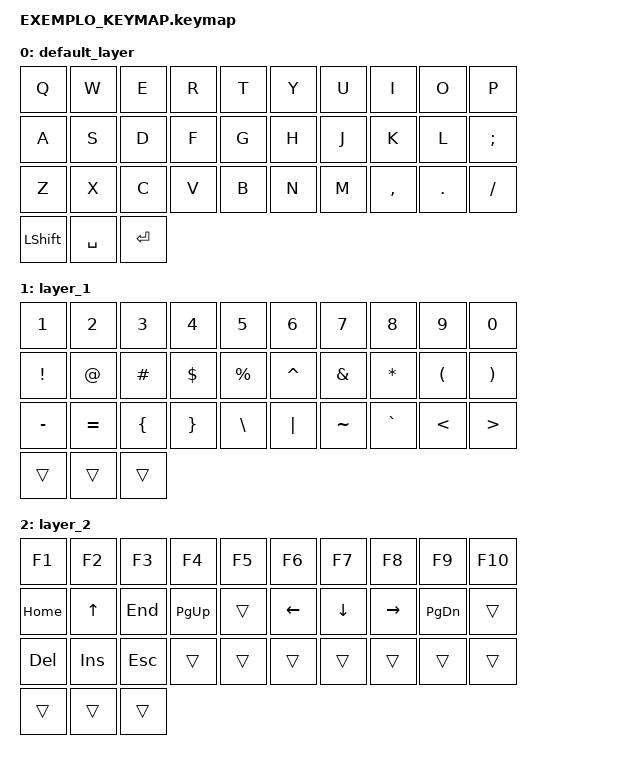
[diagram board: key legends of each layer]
/*
 * Exemplo de Keymap para nice!nano com ZMK
 * 
 * Este é um exemplo básico de um teclado 60% (ANSI)
 * Adapte conforme o layout do seu teclado
 */

#include <behaviors.dtsi>
#include <dt-bindings/zmk/keys.h>
#include <dt-bindings/zmk/bt.h>

/ {
    keymap {
        compatible = "zmk,keymap";

        /*
         * Layer 0: Base Layer (QWERTY)
         */
        default_layer {
            bindings = <
                // Linha 1
                &kp Q    &kp W    &kp E    &kp R    &kp T    &kp Y    &kp U    &kp I    &kp O    &kp P
                // Linha 2
                &kp A    &kp S    &kp D    &kp F    &kp G    &kp H    &kp J    &kp K    &kp L    &kp SEMICOLON
                // Linha 3
                &kp Z    &kp X    &kp C    &kp V    &kp B    &kp N    &kp M    &kp COMMA &kp DOT  &kp SLASH
                // Linha 4 (Space bar e modificadores)
                &kp LSHIFT &kp SPACE &kp ENTER
            >;
        };

        /*
         * Layer 1: Números e Símbolos
         * Ativado com a tecla MO(1)
         */
        layer_1 {
            bindings = <
                // Linha 1 - Números
                &kp N1   &kp N2   &kp N3   &kp N4   &kp N5   &kp N6   &kp N7   &kp N8   &kp N9   &kp N0
                // Linha 2 - Símbolos
                &kp EXCL &kp AT   &kp HASH &kp DLLR &kp PRCNT &kp CARET &kp AMPS &kp STAR &kp LPAR &kp RPAR
                // Linha 3
                &kp MINUS &kp EQUAL &kp LBRC &kp RBRC &kp BSLH &kp PIPE &kp TILDE &kp GRAVE &kp LT &kp GT
                // Linha 4
                &trans   &trans   &trans
            >;
        };

        /*
         * Layer 2: Funções e Navegação
         */
        layer_2 {
            bindings = <
                // Linha 1 - F1-F10
                &kp F1   &kp F2   &kp F3   &kp F4   &kp F5   &kp F6   &kp F7   &kp F8   &kp F9   &kp F10
                // Linha 2 - Navegação
                &kp HOME &kp UP   &kp END  &kp PG_UP &trans   &kp LEFT &kp DOWN &kp RIGHT &kp PG_DN &trans
                // Linha 3
                &kp DEL  &kp INS  &kp ESC  &trans   &trans   &trans  &trans  &trans  &trans  &trans
                // Linha 4
                &trans   &trans   &trans
            >;
        };
    };

    /*
     * Configuração de Layers
     * MO(n) = Momentary Layer (ativa enquanto pressionado)
     * TO(n) = Toggle Layer (liga/desliga)
     * TG(n) = Toggle Layer (alterna)
     */
    chosen {
        zmk,keymap = <
            default_layer
            layer_1
            layer_2
        >;
    };
};

